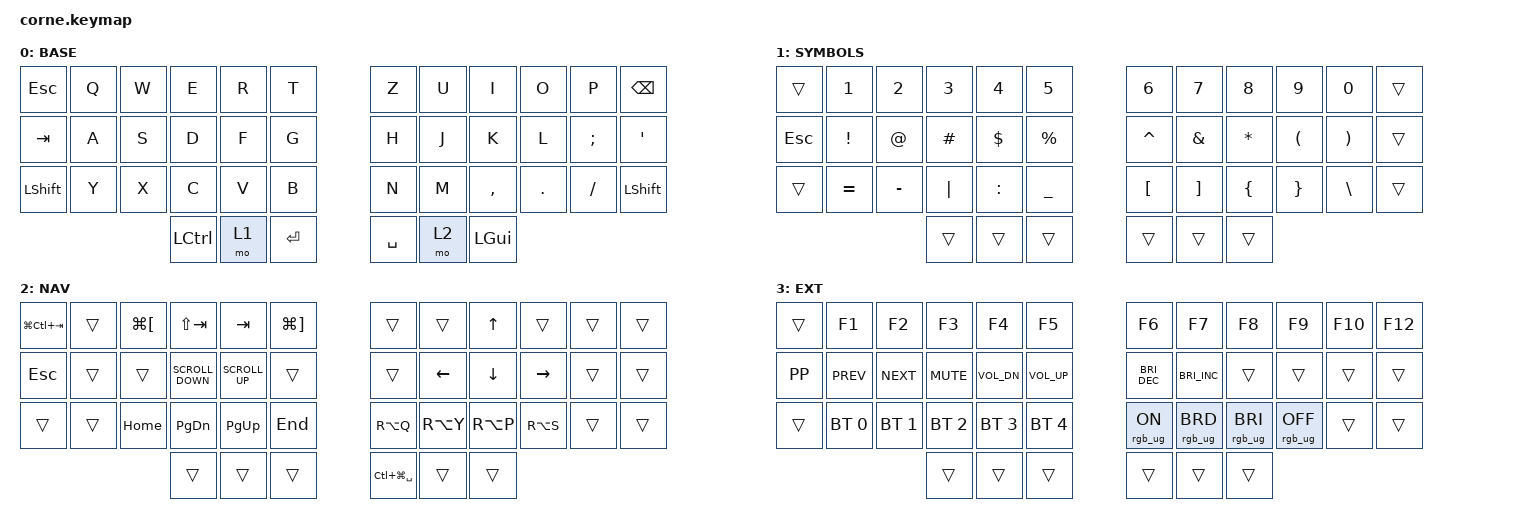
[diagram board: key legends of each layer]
#include <behaviors.dtsi>
#include <dt-bindings/zmk/bt.h>
#include <dt-bindings/zmk/keys.h>
#include <dt-bindings/zmk/rgb.h>

&led_strip {
    //chain-length = <0>;

    chain-length = <21>;

    // 21 backlight + 6 glowlight
};

#define TAPPING_TERM 200

/ {
    behaviors {
        /*
    * td_lock groups locking functions into one key:
    *  - tap once to lock the host
    *  - tap twice to put the host to sleep
    */

        td_lock: tap_dance_lock {
            compatible = "zmk,behavior-tap-dance";
            label = "TAP_DANCE_LOCK";
            #binding-cells = <0>;
            tapping-term-ms = <TAPPING_TERM>;
            bindings = <&kp LG(LC(Q))>, <&kp LG(LA(C_EJECT))>;
        };
    };

    combos {
        compatible = "zmk,combos";

        Clear_BLE_Profile {
            bindings = <&bt BT_CLR>;
            key-positions = <0 38 5>;
        };

        Space {
            bindings = <&kp SPACE>;
            key-positions = <29 28>;
        };

        Enter {
            bindings = <&kp ENTER>;
            key-positions = <17 16>;
        };

        Capslock {
            bindings = <&kp CLCK>;
            key-positions = <5 6>;
        };
    };

    macros {
        git_status: git_status {
            compatible = "zmk,behavior-macro";
            #binding-cells = <0>;
            bindings = <&kp G &kp I &kp T &kp SPACE &kp S &kp T &kp A &kp T &kp U &kp S>;
            label = "GIT_STATUS";
        };

        git_commit_all: git_commit_all {
            compatible = "zmk,behavior-macro";
            #binding-cells = <0>;
            bindings = <&kp G &kp I &kp T &kp SPACE &kp C &kp O &kp M &kp M &kp I &kp T &kp SPACE &kp MINUS &kp A &kp MINUS &kp M &kp SPACE &kp DQT &kp DQT &kp LEFT_ARROW>;
            label = "GIT_COMMIT";
        };
    };

    keymap {
        compatible = "zmk,keymap";

        base_layer {
            label = "BASE";
            bindings = <
&kp ESC    &kp Q  &kp W  &kp E      &kp R  &kp T        &kp Z      &kp U  &kp I      &kp O    &kp P      &kp BSPC
&kp TAB    &kp A  &kp S  &kp D      &kp F  &kp G        &kp H      &kp J  &kp K      &kp L    &kp SEMI   &kp SINGLE_QUOTE
&kp LSHFT  &kp Y  &kp X  &kp C      &kp V  &kp B        &kp N      &kp M  &kp COMMA  &kp DOT  &kp SLASH  &kp LSHFT
                         &kp LCTRL  &mo 1  &kp ENTER    &kp SPACE  &mo 2  &kp LGUI
            >;
        };

        symbols_layer {
            label = "SYMBOLS";
            bindings = <
&trans   &kp N1     &kp N2     &kp N3    &kp N4     &kp N5            &kp N6            &kp N7             &kp N8          &kp N9           &kp N0         &trans
&kp ESC  &kp EXCL   &kp AT     &kp HASH  &kp DLLR   &kp PRCNT         &kp CARET         &kp AMPS           &kp ASTERISK    &kp LPAR         &kp RPAR       &trans
&trans   &kp EQUAL  &kp MINUS  &kp PIPE  &kp COLON  &kp UNDERSCORE    &kp LEFT_BRACKET  &kp RIGHT_BRACKET  &kp LEFT_BRACE  &kp RIGHT_BRACE  &kp BACKSLASH  &trans
                               &trans    &trans     &trans            &trans            &trans             &trans
            >;
        };

        nav_layer {
            label = "NAV";
            bindings = <
&kp LG(LC(TAB))  &trans  &kp LG(LEFT_BRACKET)  &kp LS(TAB)        &kp TAB          &kp LG(RIGHT_BRACKET)    &trans             &trans          &kp UP          &trans     &trans  &trans
&kp ESC          &trans  &trans                &kp K_SCROLL_DOWN  &kp K_SCROLL_UP  &trans                   &trans             &kp LEFT_ARROW  &kp DOWN_ARROW  &kp RIGHT  &trans  &trans
&trans           &trans  &kp HOME              &kp PG_DN          &kp PG_UP        &kp END                  &kp RA(Q)          &kp RA(Y)       &kp RA(P)       &kp RA(S)  &trans  &trans
                                               &trans             &trans           &trans                   &kp LC(LG(SPACE))  &trans          &trans
            >;
        };

        extended_layer {
            label = "EXT";
            bindings = <
&trans    &kp F1        &kp F2        &kp F3        &kp F4        &kp F5          &kp F6                &kp F7                &kp F8           &kp F9           &kp F10  &kp F12
&kp K_PP  &kp K_PREV    &kp K_NEXT    &kp K_MUTE    &kp C_VOL_DN  &kp C_VOL_UP    &kp C_BRIGHTNESS_DEC  &kp C_BRIGHTNESS_INC  &trans           &trans           &trans   &trans
&trans    &bt BT_SEL 0  &bt BT_SEL 1  &bt BT_SEL 2  &bt BT_SEL 3  &bt BT_SEL 4    &rgb_ug RGB_ON        &rgb_ug RGB_BRD       &rgb_ug RGB_BRI  &rgb_ug RGB_OFF  &trans   &trans
                                      &trans        &trans        &trans          &trans                &trans                &trans
            >;
        };
    };

    conditional_layers {
        compatible = "zmk,conditional-layers";

        Activate_EXT {
            if-layers = <1 2>;
            then-layer = <3>;
        };
    };
};
